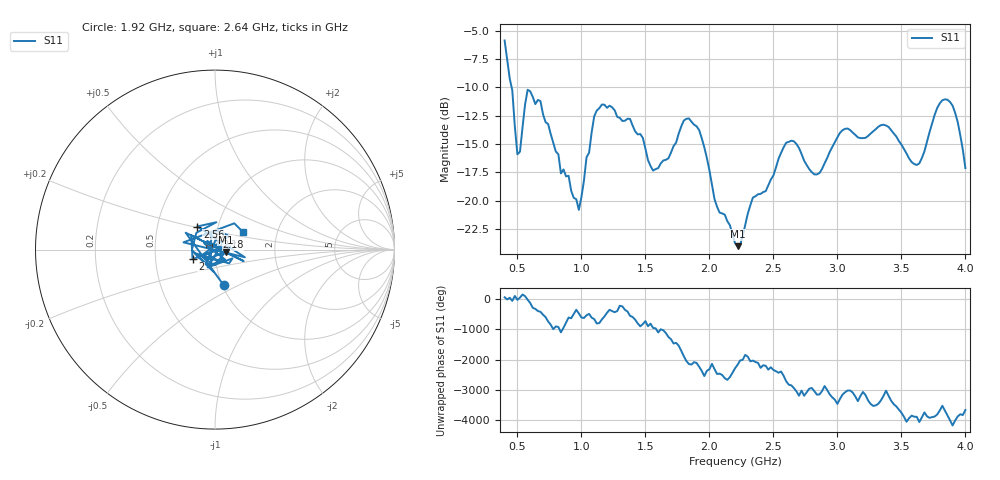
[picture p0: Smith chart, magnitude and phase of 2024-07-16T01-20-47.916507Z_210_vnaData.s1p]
!Created with skrf (http://scikit-rf.org).
# Hz S RI R 50.0
!freq ReS11 ImS11
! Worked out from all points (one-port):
!   181 points, 400 MHz to 4 GHz, reference 50 ohm
!   lowest |S11| = -24.0 dB at 2.22 GHz (marker M1), VSWR 1.13, Z = 56.5 - j1.48 ohm
!   |S11| at or under -10 dB: 454.9 MHz to end of sweep
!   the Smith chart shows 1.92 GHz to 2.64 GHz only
!   S11 on the Smith chart (normalised r, x): 1.92 GHz: 1.01, -0.42; 2 GHz: 0.77, -0.08; 2.18 GHz: 1.01, +0.14; 2.56 GHz: 0.80, +0.21; 2.64 GHz: 1.33, +0.27
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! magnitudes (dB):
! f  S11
! 400 MHz  -5.9
! 460 MHz  -10.3
! 500 MHz  -15.9
! 580 MHz  -10.2
! 680 MHz  -11.2
! 860 MHz  -17.3
! 980 MHz  -20.8
! 1.12 GHz  -12.1
! 1.3 GHz  -12.7
! 1.48 GHz  -14.5
! 1.56 GHz  -17.4
! 1.76 GHz  -14.1
! 1.92 GHz  -13.8
! 2 GHz  -17.3
! 2.18 GHz  -23.0
! 2.2 GHz  -23.8
! 2.22 GHz  -24.0
! 2.56 GHz  -15.8
! 2.64 GHz  -14.7
! 2.66 GHz  -14.8
! 2.84 GHz  -17.7
! 3.1 GHz  -13.8
! 3.38 GHz  -13.4
! 3.56 GHz  -16.3
! 3.64 GHz  -16.7
! 3.86 GHz  -11.1
! 3.94 GHz  -13.1
! 4 GHz  -17.1
